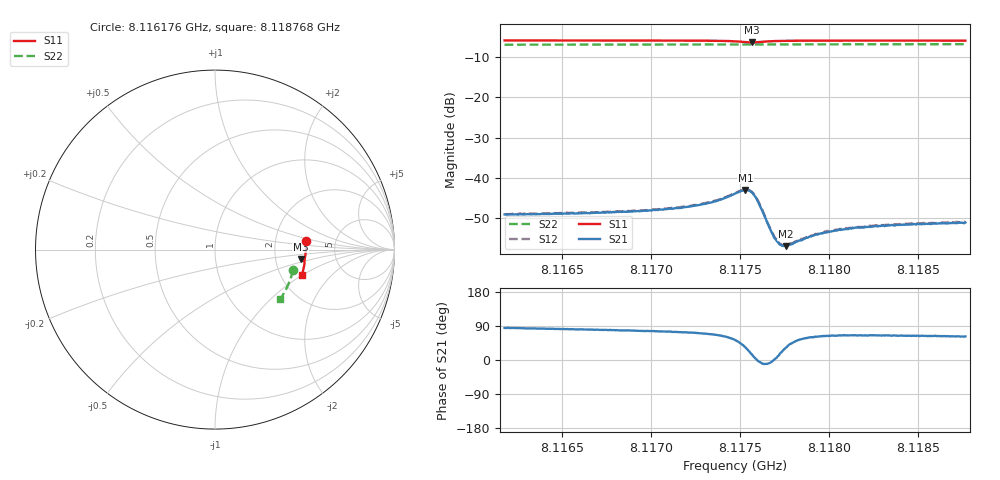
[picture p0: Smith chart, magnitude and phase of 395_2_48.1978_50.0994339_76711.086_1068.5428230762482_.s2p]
#  HZ  S  RI  R  50.00
! Rohde & Schwarz Vector Network Analyzer
! Rohde-Schwarz,ZNB20-2Port,1311601062101988,3.16
! Created: UTC 3/20/2024, 11:53:47 AM
! freq[Hz]  re:S11  im:S11  re:S21  im:S21  re:S12  im:S12  re:S22  im:S22
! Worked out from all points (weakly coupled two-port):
!   401 points, 8.116176 GHz to 8.118768 GHz, reference 50 ohm
!   highest |S21| = -42.96 dB at 8.117531 GHz (marker M1); lowest = -56.9 dB at 8.117757 GHz (marker M2)
!   lowest |S11| = -6.4 dB at 8.117569 GHz (marker M3), VSWR 2.84, Z = 139 - j19 ohm
!   |S11| at or under -10 dB: nowhere
!   |S22| runs from -7.0 to -6.8 dB; largest |S21 - S12| = 0.00019
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8.1161759e9  0.505 0.0452  0.000329 0.00353  0.000356 0.00355  0.4348 -0.1131
8.1166102e9  0.5064 0.0123  0.000585 0.00362  0.000658 0.00371  0.4273 -0.1424
8.1170444e9  0.5051 -0.0214  0.00102 0.00393  0.00105 0.00399  0.4178 -0.171
8.1172065e9  0.5034 -0.0348  0.00131 0.00421  0.00139 0.00427  0.4136 -0.1816
8.1173166e9  0.5014 -0.0448  0.00174 0.00456  0.00181 0.00464  0.4109 -0.1889
8.1173815e9  0.499 -0.0512  0.00224 0.00485  0.00235 0.00487  0.4089 -0.193
8.1174722e9  0.4913 -0.0603  0.00388 0.00512  0.00399 0.00518  0.4061 -0.1989
8.1175305e9  0.4806 -0.0606  0.00594 0.00391  0.00607 0.00395  0.4041 -0.2023
8.11755e9  0.4775 -0.0574  0.00641 0.00281  0.00653 0.00282  0.4034 -0.2034
8.1175694e9  0.4766 -0.0527  0.00639 0.0015  0.0065 0.00145  0.4029 -0.2043
8.1175824e9  0.4776 -0.0496  0.00601 0.000647  0.00616 0.000597  0.4026 -0.205
8.1176018e9  0.481 -0.0464  0.00508 -0.000237  0.00523 -0.000256  0.4023 -0.2061
8.1176666e9  0.4929 -0.0488  0.0024 -0.000339  0.00244 -0.000396  0.4008 -0.2101
8.117699e9  0.4958 -0.0526  0.00176 0.000113  0.00178 7.55e-05  0.4 -0.2124
8.1177315e9  0.4974 -0.0566  0.0014 0.000504  0.00142 0.000523  0.3992 -0.2144
8.1177574e9  0.4983 -0.0596  0.00121 0.000763  0.00127 0.000784  0.3985 -0.2162
8.1177833e9  0.4986 -0.0624  0.00111 0.00102  0.00117 0.00101  0.3976 -0.2178
8.1179065e9  0.4987 -0.0745  0.000948 0.00167  0.000977 0.00168  0.3937 -0.2256
8.1179907e9  0.4979 -0.0817  0.000936 0.00192  0.000996 0.00198  0.391 -0.2309
8.1180944e9  0.4967 -0.0901  0.000996 0.00212  0.00104 0.00217  0.3876 -0.2373
8.1183407e9  0.4928 -0.1092  0.0011 0.00235  0.00117 0.00236  0.3787 -0.2522
8.1187685e9  0.4845 -0.1405  0.00131 0.00249  0.00135 0.0025  0.3622 -0.2774
